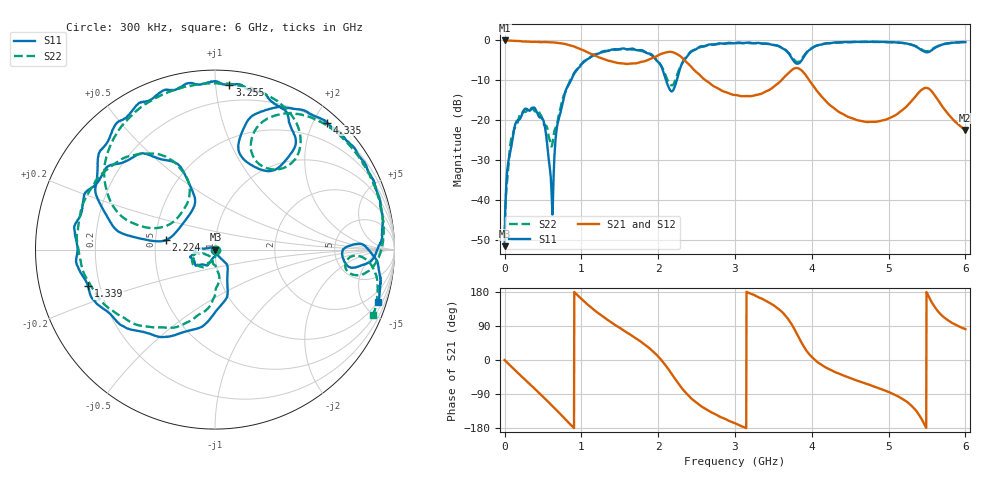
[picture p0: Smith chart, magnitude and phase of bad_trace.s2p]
! 2-Port Measurement of a badly matched MSL
# Hz S  RI  R 50
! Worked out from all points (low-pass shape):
!   1601 points, 300 kHz to 6 GHz, reference 50 ohm
!   highest |S21| = -0.01 dB at 300 kHz (marker M1); lowest = -22.4 dB at 5.996 GHz (marker M2)
!   |S21| within 3 dB of the highest: start of sweep to 1.085 GHz; 2.1 GHz to 2.199 GHz (99.53 MHz wide, 4.63 % of centre)
!   lowest |S11| = -51.5 dB at 300 kHz (marker M3), VSWR 1.01, Z = 50.3 - j0.0929 ohm
!   |S11| at or under -10 dB: start of sweep to 864.7 MHz; 2.102 GHz to 2.242 GHz (139.8 MHz wide, 6.44 % of centre)
!   |S22| runs from -48.4 to -0.4 dB; largest |S21 - S12| = 0.0034
!   S11 on the Smith chart (normalised r, x): 300 kHz: 1.01, -0.00; 1.339 GHz: 0.15, -0.14; 2.224 GHz: 0.57, +0.07; 3.255 GHz: 0.09, +1.09; 4.335 GHz: 0.17, +2.21; 6 GHz: 0.97, -6.24
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300000  0.0025 -0.000925  0.9986 -0.00253  0.9978 -0.00213  0.00378 -0.000552
4.904756e7  0.00365 -0.0303  0.9815 -0.1698  0.9807 -0.1688  0.00118 -0.0263
1.465427e8  -0.0386 -0.0844  0.8627 -0.4758  0.8618 -0.473  -0.0387 -0.0744
4.952752e8  -0.1042 0.0108  -0.0932 -0.9486  -0.0924 -0.9489  -0.0985 -0.0167
6.152692e8  -0.00976 0.00297  -0.4654 -0.8209  -0.4658 -0.821  -0.0263 -0.0394
6.865157e8  0.0535 -0.0688  -0.6544 -0.6626  -0.6539 -0.6618  0.00451 -0.0927
7.727614e8  0.0687 -0.1823  -0.8047 -0.4206  -0.8023 -0.4203  0.0101 -0.2061
1.0015e9  -0.187 -0.4637  -0.7278 0.2481  -0.7281 0.2471  -0.2597 -0.4354
1.338983e9  -0.7076 -0.205  -0.1551 0.54  -0.1553 0.5394  -0.7288 -0.136
1.665217e9  -0.7257 0.3108  0.2326 0.459  0.2325 0.4599  -0.6832 0.3508
2.0027e9  -0.2224 0.4852  0.6445 0.1001  0.6447 0.0984  -0.2288 0.4885
2.223939e9  -0.2724 0.0534  0.4358 -0.5354  0.4346 -0.5358  -0.2974 0.1245
2.460177e9  -0.6654 0.3508  -0.1235 -0.4161  -0.1243 -0.4156  -0.6174 0.4323
3.00015e9  -0.2045 0.8999  -0.2019 -0.0474  -0.2015 -0.0471  -0.1294 0.9131
3.255137e9  0.08 0.9197  -0.203 0.0323  -0.2029 0.0323  0.1455 0.912
3.768862e9  0.3214 0.4403  0.0519 0.4415  0.052 0.4415  0.3568 0.448
4.00135e9  0.2366 0.7604  0.2826 0.0388  0.2815 0.0387  0.3184 0.7411
4.335083e9  0.6254 0.7074  0.1078 -0.074  0.1078 -0.0741  0.6792 0.6496
5.00255e9  0.9253 0.2296  0.00998 -0.1054  0.00992 -0.105  0.9355 0.1604
5.497525e9  0.7079 -0.0221  -0.2541 0.00986  -0.2541 0.0102  0.7271 -0.0793
5.99625e9  0.9062 -0.2869  0.0111 0.0751  0.0109 0.0749  0.8814 -0.3594
6e9  0.9079 -0.2912  0.0114 0.0752  0.0113 0.0748  0.8824 -0.3639
